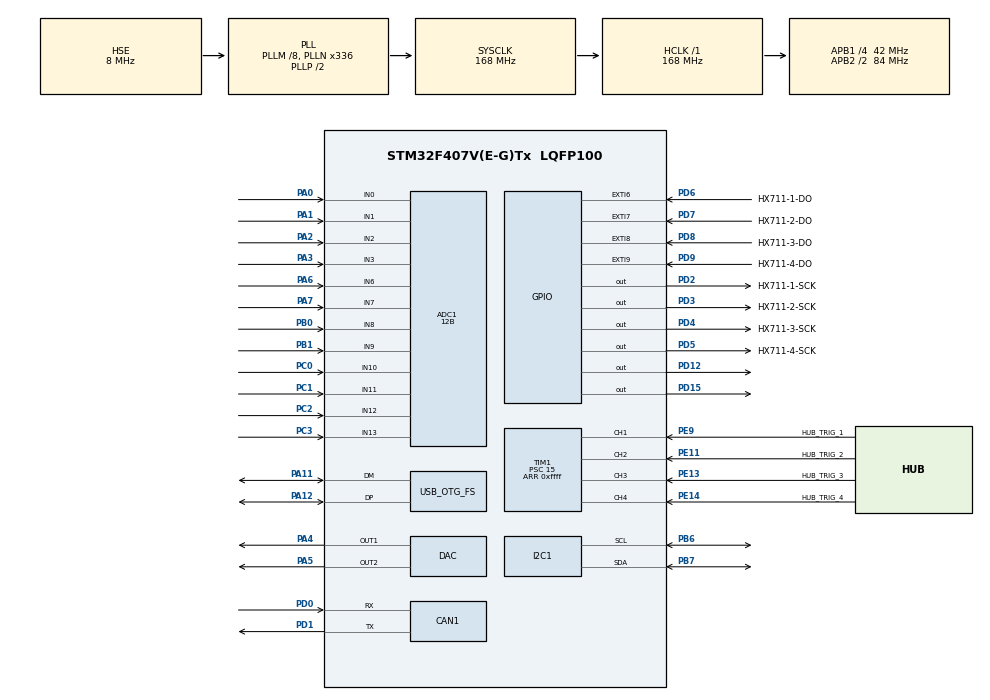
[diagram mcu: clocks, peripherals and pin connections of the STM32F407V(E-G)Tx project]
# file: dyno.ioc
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ADC1.Channel-0\#ChannelRegularConversion=ADC_CHANNEL_0
ADC1.Channel-1\#ChannelRegularConversion=ADC_CHANNEL_1
ADC1.Channel-10\#ChannelRegularConversion=ADC_CHANNEL_12
ADC1.Channel-11\#ChannelRegularConversion=ADC_CHANNEL_13
ADC1.Channel-2\#ChannelRegularConversion=ADC_CHANNEL_2
ADC1.Channel-3\#ChannelRegularConversion=ADC_CHANNEL_3
ADC1.Channel-4\#ChannelRegularConversion=ADC_CHANNEL_6
ADC1.Channel-5\#ChannelRegularConversion=ADC_CHANNEL_7
ADC1.Channel-6\#ChannelRegularConversion=ADC_CHANNEL_8
ADC1.Channel-7\#ChannelRegularConversion=ADC_CHANNEL_9
ADC1.Channel-8\#ChannelRegularConversion=ADC_CHANNEL_10
ADC1.Channel-9\#ChannelRegularConversion=ADC_CHANNEL_11
ADC1.ClockPrescaler=ADC_CLOCK_SYNC_PCLK_DIV8
ADC1.ContinuousConvMode=ENABLE
ADC1.DMAContinuousRequests=ENABLE
ADC1.EOCSelection=ADC_EOC_SEQ_CONV
ADC1.InjNumberOfConversion=0
ADC1.NbrOfConversion=12
ADC1.NbrOfConversionFlag=1
ADC1.Rank-0\#ChannelRegularConversion=1
ADC1.Rank-1\#ChannelRegularConversion=2
ADC1.Rank-10\#ChannelRegularConversion=11
ADC1.Rank-11\#ChannelRegularConversion=12
ADC1.Rank-2\#ChannelRegularConversion=3
ADC1.Rank-3\#ChannelRegularConversion=4
ADC1.Rank-4\#ChannelRegularConversion=5
ADC1.Rank-5\#ChannelRegularConversion=6
ADC1.Rank-6\#ChannelRegularConversion=7
ADC1.Rank-7\#ChannelRegularConversion=8
ADC1.Rank-8\#ChannelRegularConversion=9
ADC1.Rank-9\#ChannelRegularConversion=10
ADC1.Resolution=ADC_RESOLUTION_12B
ADC1.SamplingTime-0\#ChannelRegularConversion=ADC_SAMPLETIME_84CYCLES
ADC1.SamplingTime-1\#ChannelRegularConversion=ADC_SAMPLETIME_84CYCLES
ADC1.SamplingTime-10\#ChannelRegularConversion=ADC_SAMPLETIME_84CYCLES
ADC1.SamplingTime-11\#ChannelRegularConversion=ADC_SAMPLETIME_84CYCLES
ADC1.SamplingTime-2\#ChannelRegularConversion=ADC_SAMPLETIME_84CYCLES
ADC1.SamplingTime-3\#ChannelRegularConversion=ADC_SAMPLETIME_84CYCLES
ADC1.SamplingTime-4\#ChannelRegularConversion=ADC_SAMPLETIME_84CYCLES
ADC1.SamplingTime-5\#ChannelRegularConversion=ADC_SAMPLETIME_84CYCLES
ADC1.SamplingTime-6\#ChannelRegularConversion=ADC_SAMPLETIME_84CYCLES
ADC1.SamplingTime-7\#ChannelRegularConversion=ADC_SAMPLETIME_84CYCLES
ADC1.SamplingTime-8\#ChannelRegularConversion=ADC_SAMPLETIME_84CYCLES
ADC1.SamplingTime-9\#ChannelRegularConversion=ADC_SAMPLETIME_84CYCLES
ADC1.ScanConvMode=ENABLE
ADC1.master=1
CAN1.CalculateTimeQuantum=380.95238095238096
Dma.ADC1.0.Direction=DMA_PERIPH_TO_MEMORY
Dma.ADC1.0.FIFOMode=DMA_FIFOMODE_DISABLE
Dma.ADC1.0.Instance=DMA2_Stream0
Dma.ADC1.0.MemDataAlignment=DMA_MDATAALIGN_HALFWORD
Dma.ADC1.0.MemInc=DMA_MINC_ENABLE
Dma.ADC1.0.Mode=DMA_CIRCULAR
Dma.ADC1.0.PeriphDataAlignment=DMA_PDATAALIGN_HALFWORD
Dma.ADC1.0.PeriphInc=DMA_PINC_DISABLE
Dma.ADC1.0.Priority=DMA_PRIORITY_LOW
Dma.Request0=ADC1
FREERTOS.Tasks01=Default,24,512,StartDefaultTask,As weak,NULL,Dynamic,NULL,NULL;analog,24,512,analogTask,As external,NULL,Dynamic,NULL,NULL;communication,24,512,communicationTask,As external,NULL,Dynamic,NULL,NULL
FREERTOS.Timers01=heartBeatTimer,heartBeat,osTimerPeriodic,As external,NULL,Dynamic,NULL;envelopeTimeoutTimer,envelopeTimeout,osTimerOnce,As external,NULL,Dynamic,NULL;hubWatchDogTimer,hubWatchDog,osTimerPeriodic,As external,NULL,Dynamic,NULL
FREERTOS.configCHECK_FOR_STACK_OVERFLOW=1
FREERTOS.configGENERATE_RUN_TIME_STATS=1
FREERTOS.configLIBRARY_MAX_SYSCALL_INTERRUPT_PRIORITY=5
FREERTOS.configMINIMAL_STACK_SIZE=256
FREERTOS.configRECORD_STACK_HIGH_ADDRESS=1
FREERTOS.configTIMER_TASK_PRIORITY=24
FREERTOS.configTIMER_TASK_STACK_DEPTH=512
FREERTOS.configTOTAL_HEAP_SIZE=16384
FREERTOS.configUSE_STATS_FORMATTING_FUNCTIONS=1
I2C1.GeneralCallMode=I2C_GENERALCALL_DISABLE
I2C1.I2C_Mode=I2C_Fast
I2C1.OwnAddress=0
Mcu.Family=STM32F4
Mcu.Name=STM32F407V(E-G)Tx
Mcu.Package=LQFP100
NVIC.DMA2_Stream0_IRQn=true\:5\:0\:true\:false\:true\:false\:false\:true
NVIC.EXTI9_5_IRQn=true\:0\:0\:false\:false\:false\:false\:true\:false
NVIC.OTG_FS_IRQn=true\:5\:0\:false\:false\:true\:true\:false\:true
NVIC.PriorityGroup=NVIC_PRIORITYGROUP_4
NVIC.TIM1_CC_IRQn=true\:2\:0\:true\:false\:false\:false\:true\:false
NVIC.TIM1_UP_TIM10_IRQn=true\:2\:0\:true\:false\:false\:false\:true\:false
NVIC.TIM5_IRQn=true\:2\:0\:true\:false\:false\:false\:true\:false
NVIC.TIM6_DAC_IRQn=true\:0\:0\:false\:false\:true\:false\:false\:true
NVIC.TIM8_CC_IRQn=true\:0\:0\:false\:false\:false\:false\:true\:false
NVIC.TimeBase=TIM6_DAC_IRQn
NVIC.TimeBaseIP=TIM6
PA0-WKUP.Signal=ADCx_IN0
PA1.Signal=ADCx_IN1
PA11.Mode=Device_Only
PA11.Signal=USB_OTG_FS_DM
PA12.Mode=Device_Only
PA12.Signal=USB_OTG_FS_DP
PA13.Mode=Trace_Asynchronous_SW
PA13.Signal=SYS_JTMS-SWDIO
PA14.Mode=Trace_Asynchronous_SW
PA14.Signal=SYS_JTCK-SWCLK
PA2.Signal=ADCx_IN2
PA3.Signal=ADCx_IN3
PA4.Signal=COMP_DAC1_group
PA5.Signal=COMP_DAC2_group
PA6.Signal=ADCx_IN6
PA7.Signal=ADCx_IN7
PB0.Signal=ADCx_IN8
PB1.Signal=ADCx_IN9
PB3.Mode=Trace_Asynchronous_SW
PB3.Signal=SYS_JTDO-SWO
PB6.Mode=I2C
PB6.Signal=I2C1_SCL
PB7.Mode=I2C
PB7.Signal=I2C1_SDA
PC0.Signal=ADCx_IN10
PC1.Signal=ADCx_IN11
PC14-OSC32_IN.Mode=LSE-External-Oscillator
PC14-OSC32_IN.Signal=RCC_OSC32_IN
PC15-OSC32_OUT.Mode=LSE-External-Oscillator
PC15-OSC32_OUT.Signal=RCC_OSC32_OUT
PC2.Signal=ADCx_IN12
PC3.Signal=ADCx_IN13
PD0.Mode=Master
PD0.Signal=CAN1_RX
PD1.Mode=Master
PD1.Signal=CAN1_TX
PD12.PinState=GPIO_PIN_SET
PD12.Signal=GPIO_Output
PD15.PinState=GPIO_PIN_SET
PD15.Signal=GPIO_Output
PD2.GPIO_Label=HX711-1-SCK
PD2.GPIO_ModeDefaultOutputPP=GPIO_MODE_OUTPUT_PP
PD2.GPIO_PuPd=GPIO_PULLUP
PD2.GPIO_Speed=GPIO_SPEED_FREQ_LOW
PD2.PinState=GPIO_PIN_SET
PD2.Signal=GPIO_Output
PD3.GPIO_Label=HX711-2-SCK
PD3.GPIO_PuPd=GPIO_PULLUP
PD3.PinState=GPIO_PIN_SET
PD3.Signal=GPIO_Output
PD4.GPIO_Label=HX711-3-SCK
PD4.GPIO_PuPd=GPIO_PULLUP
PD4.PinState=GPIO_PIN_SET
PD4.Signal=GPIO_Output
PD5.GPIO_Label=HX711-4-SCK
PD5.GPIO_ModeDefaultOutputPP=GPIO_MODE_OUTPUT_PP
PD5.GPIO_PuPd=GPIO_PULLUP
PD5.PinState=GPIO_PIN_SET
PD5.Signal=GPIO_Output
PD6.GPIO_Label=HX711-1-DO
PD6.GPIO_ModeDefaultEXTI=GPIO_MODE_IT_FALLING
PD6.Signal=GPXTI6
PD7.GPIO_Label=HX711-2-DO
PD7.GPIO_ModeDefaultEXTI=GPIO_MODE_IT_FALLING
PD7.Signal=GPXTI7
PD8.GPIO_Label=HX711-3-DO
PD8.GPIO_ModeDefaultEXTI=GPIO_MODE_IT_FALLING
PD8.Signal=GPXTI8
PD9.GPIO_Label=HX711-4-DO
PD9.GPIO_ModeDefaultEXTI=GPIO_MODE_IT_FALLING
PD9.Signal=GPXTI9
PE11.GPIO_Label=HUB_TRIG_2
PE11.Signal=S_TIM1_CH2
PE13.GPIO_Label=HUB_TRIG_3
PE13.Signal=S_TIM1_CH3
PE14.GPIO_Label=HUB_TRIG_4
PE14.Signal=S_TIM1_CH4
PE9.GPIO_Label=HUB_TRIG_1
PE9.Signal=S_TIM1_CH1
PH0-OSC_IN.Mode=HSE-External-Oscillator
PH0-OSC_IN.Signal=RCC_OSC_IN
PH1-OSC_OUT.Mode=HSE-External-Oscillator
PH1-OSC_OUT.Signal=RCC_OSC_OUT
ProjectManager.HeapSize=0x300
ProjectManager.StackSize=0x400
ProjectManager.TargetToolchain=TrueSTUDIO
RCC.48MHZClocksFreq_Value=48000000
RCC.AHBFreq_Value=168000000
RCC.APB1CLKDivider=RCC_HCLK_DIV4
RCC.APB1Freq_Value=42000000
RCC.APB1TimFreq_Value=84000000
RCC.APB2CLKDivider=RCC_HCLK_DIV2
RCC.APB2Freq_Value=84000000
RCC.APB2TimFreq_Value=168000000
RCC.CortexFreq_Value=168000000
RCC.HCLKFreq_Value=168000000
RCC.HSE_VALUE=8000000
RCC.HSI_VALUE=16000000
RCC.PLLM=8
RCC.PLLN=336
RCC.PLLQ=7
RCC.SYSCLKFreq_VALUE=168000000
RCC.SYSCLKSource=RCC_SYSCLKSOURCE_PLLCLK
RCC.VCOOutputFreq_Value=336000000
SH.ADCx_IN0.0=ADC1_IN0,IN0
SH.ADCx_IN1.0=ADC1_IN1,IN1
SH.ADCx_IN10.0=ADC1_IN10,IN10
SH.ADCx_IN11.0=ADC1_IN11,IN11
SH.ADCx_IN12.0=ADC1_IN12,IN12
SH.ADCx_IN13.0=ADC1_IN13,IN13
SH.ADCx_IN2.0=ADC1_IN2,IN2
SH.ADCx_IN3.0=ADC1_IN3,IN3
SH.ADCx_IN6.0=ADC1_IN6,IN6
SH.ADCx_IN7.0=ADC1_IN7,IN7
SH.ADCx_IN8.0=ADC1_IN8,IN8
SH.ADCx_IN9.0=ADC1_IN9,IN9
SH.COMP_DAC1_group.0=DAC_OUT1,DAC_OUT1
SH.COMP_DAC2_group.0=DAC_OUT2,DAC_OUT2
SH.S_TIM1_CH1.0=TIM1_CH1,Input_Capture1_from_TI1
SH.S_TIM1_CH2.0=TIM1_CH2,Input_Capture2_from_TI2
SH.S_TIM1_CH3.0=TIM1_CH3,Input_Capture3_from_TI3
SH.S_TIM1_CH4.0=TIM1_CH4,Input_Capture4_from_TI4
TIM1.AutoReloadPreload=TIM_AUTORELOAD_PRELOAD_DISABLE
TIM1.Channel-Input_Capture1_from_TI1=TIM_CHANNEL_1
TIM1.Channel-Input_Capture2_from_TI2=TIM_CHANNEL_2
TIM1.Channel-Input_Capture3_from_TI3=TIM_CHANNEL_3
TIM1.Channel-Input_Capture4_from_TI4=TIM_CHANNEL_4
TIM1.Period=0xffff
TIM1.Prescaler=15
TIM1.TIM_MasterOutputTrigger=TIM_TRGO_RESET
TIM2.Period=0xffffffff
TIM2.Prescaler=167
TIM5.Channel-Output\ Compare1\ No\ Output=TIM_CHANNEL_1
TIM5.Channel-Output\ Compare2\ No\ Output=TIM_CHANNEL_2
TIM5.Channel-Output\ Compare3\ No\ Output=TIM_CHANNEL_3
TIM5.Channel-Output\ Compare4\ No\ Output=TIM_CHANNEL_4
TIM5.Period=0xffffffff
TIM5.Prescaler=7
TIM8.Channel-Output\ Compare1\ No\ Output=TIM_CHANNEL_1
TIM8.Channel-Output\ Compare2\ No\ Output=TIM_CHANNEL_2
TIM8.Channel-Output\ Compare3\ No\ Output=TIM_CHANNEL_3
TIM8.Channel-Output\ Compare4\ No\ Output=TIM_CHANNEL_4
TIM8.Period=0xffff
TIM8.Prescaler=167
USB_DEVICE.APP_RX_DATA_SIZE-CDC_FS=64
USB_DEVICE.APP_TX_DATA_SIZE-CDC_FS=64
USB_DEVICE.CLASS_NAME_FS=CDC
USB_DEVICE.VirtualMode-CDC_FS=Cdc
USB_DEVICE.VirtualModeFS=Cdc_FS
USB_OTG_FS.VirtualMode=Device_Only
VP_FREERTOS_VS_CMSIS_V2.Mode=CMSIS_V2
VP_SYS_VS_tim6.Mode=TIM6
VP_TIM1_VS_ClockSourceINT.Mode=Internal
VP_TIM2_VS_ClockSourceINT.Mode=Internal
VP_TIM5_VS_ClockSourceINT.Mode=Internal
VP_TIM5_VS_no_output1.Mode=Output Compare1 No Output
VP_TIM5_VS_no_output2.Mode=Output Compare2 No Output
VP_TIM5_VS_no_output3.Mode=Output Compare3 No Output
VP_TIM5_VS_no_output4.Mode=Output Compare4 No Output
VP_TIM8_VS_ClockSourceINT.Mode=Internal
VP_TIM8_VS_no_output1.Mode=Output Compare1 No Output
VP_TIM8_VS_no_output2.Mode=Output Compare2 No Output
VP_TIM8_VS_no_output3.Mode=Output Compare3 No Output
VP_TIM8_VS_no_output4.Mode=Output Compare4 No Output
VP_USB_DEVICE_VS_USB_DEVICE_CDC_FS.Mode=CDC_FS
board=custom

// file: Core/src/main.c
/* USER CODE BEGIN Header */
/**
  ******************************************************************************
  * @file           : main.c
  * @brief          : Main program body
  ******************************************************************************
  * @attention
  *
  * <h2><center>&copy; Copyright (c) 2020 STMicroelectronics.
  * All rights reserved.</center></h2>
  *
  * This software component is licensed by ST under Ultimate Liberty license
  * SLA0044, the "License"; You may not use this file except in compliance with
  * the License. You may obtain a copy of the License at:
  *                             www.st.com/SLA0044
  *
  ******************************************************************************
  */
/* USER CODE END Header */

#include "main.h"
#include "cmsis_os.h"
#include "adc.h"
#include "can.h"
#include "dac.h"
#include "dma.h"
#include "i2c.h"
#include "tim.h"
#include "usb_device.h"
#include "gpio.h"

/* USER CODE BEGIN Includes */
#include "communication.h"
#include "status.h"
#include "config.h"
#include "stepper.h"
#include "hx711.h"

/*
 * TIMER1 - HUB TRIGGER INPUTS 10.5Mhz
 * TIMER6 - SYSTEM BASE TIMER
 * TIMER5 - STEPPER MOTORS
 * TIMER8 - HX711 BIT READING DELAY TIMER
 */

/* USER CODE END Includes */

/* USER CODE BEGIN PV */
status_t status;

/* USER CODE END PV */

void SystemClock_Config(void);
void MX_FREERTOS_Init(void);

/* USER CODE BEGIN 0 */
stepper_t stp;

/* USER CODE END 0 */

int main(void)
{
  /* USER CODE BEGIN 1 */
uint8_t *s,*d;
uint16_t i;
//uint16_t tim16 = 0x0010;
//uint32_t tim32 = 0x0001FFFF;
//uint16_t result;

	hx[0].gain = 1; // 128 port A
	hx[0].offset = 0;

	hx[0].gpioSck = GPIOD;
	hx[0].pinSck = HX711_1_SCK_Pin;

	hx[0].gpioData = GPIOD;
	hx[0].pinData = HX711_1_DO_Pin;

//	result = (tim32 & 0x0000ffff) - tim16;
//	tim32 += result;

	HAL_DBGMCU_EnableDBGStandbyMode();
	HAL_DBGMCU_EnableDBGStopMode();
	DBGMCU->APB2FZ |= DBGMCU_APB2_FZ_DBG_TIM1_STOP;
	DBGMCU->APB1FZ |= DBGMCU_APB1_FZ_DBG_TIM2_STOP;
	DBGMCU->APB1FZ |= DBGMCU_APB1_FZ_DBG_TIM5_STOP;

	s = (uint8_t *) &DefaultConfig;
	d = (uint8_t *) &config;

	for (i = sizeof(config_t); i > 0; i--)
		*d++ = *s++;
  /* USER CODE END 1 */

  /* MCU Configuration--------------------------------------------------------*/

  /* Reset of all peripherals, Initializes the Flash interface and the Systick. */
  HAL_Init();

  /* Configure the system clock */
  SystemClock_Config();

  /* Initialize all configured peripherals */
  MX_GPIO_Init();
  MX_DMA_Init();
  MX_DAC_Init();
  MX_TIM5_Init();
  MX_ADC1_Init();
  MX_TIM1_Init();
  MX_CAN1_Init();
  MX_I2C1_Init();
  MX_TIM8_Init();
  MX_TIM2_Init();
  /* USER CODE BEGIN 2 */
  HX711_Init(hx[0]);
  /* USER CODE END 2 */
  /* Init scheduler */
  osKernelInitialize();

  /* Call init function for freertos objects (in freertos.c) */
  MX_FREERTOS_Init();

  /* Start scheduler */
  osKernelStart();

  /* We should never get here as control is now taken by the scheduler */

  /* Infinite loop */

    /* USER CODE BEGIN 3 */
	/* USER CODE END 2 */
	/* Init scheduler */
  osKernelInitialize();

  /* Call init function for freertos objects (in freertos.c) */
  MX_FREERTOS_Init();

  /* Start scheduler */
  osKernelStart();

  /* We should never get here as control is now taken by the scheduler */

  /* Infinite loop */
  /* USER CODE BEGIN WHILE */
  while (1)
  {
    /* USER CODE END WHILE */

    /* USER CODE BEGIN 3 */
  }
  /* USER CODE END 3 */
}

void SystemClock_Config(void)
{
  RCC_OscInitTypeDef RCC_OscInitStruct = {0};
  RCC_ClkInitTypeDef RCC_ClkInitStruct = {0};

  /** Configure the main internal regulator output voltage
  */
  __HAL_RCC_PWR_CLK_ENABLE();
  __HAL_PWR_VOLTAGESCALING_CONFIG(PWR_REGULATOR_VOLTAGE_SCALE1);
  /** Initializes the CPU, AHB and APB busses clocks
  */
  RCC_OscInitStruct.OscillatorType = RCC_OSCILLATORTYPE_HSE;
  RCC_OscInitStruct.HSEState = RCC_HSE_ON;
  RCC_OscInitStruct.PLL.PLLState = RCC_PLL_ON;
  RCC_OscInitStruct.PLL.PLLSource = RCC_PLLSOURCE_HSE;
  RCC_OscInitStruct.PLL.PLLM = 8;
  RCC_OscInitStruct.PLL.PLLN = 336;
  RCC_OscInitStruct.PLL.PLLP = RCC_PLLP_DIV2;
  RCC_OscInitStruct.PLL.PLLQ = 7;
  if (HAL_RCC_OscConfig(&RCC_OscInitStruct) != HAL_OK)
  {
    Error_Handler();
  }
  /** Initializes the CPU, AHB and APB busses clocks
  */
  RCC_ClkInitStruct.ClockType = RCC_CLOCKTYPE_HCLK|RCC_CLOCKTYPE_SYSCLK
                              |RCC_CLOCKTYPE_PCLK1|RCC_CLOCKTYPE_PCLK2;
  RCC_ClkInitStruct.SYSCLKSource = RCC_SYSCLKSOURCE_PLLCLK;
  RCC_ClkInitStruct.AHBCLKDivider = RCC_SYSCLK_DIV1;
  RCC_ClkInitStruct.APB1CLKDivider = RCC_HCLK_DIV4;
  RCC_ClkInitStruct.APB2CLKDivider = RCC_HCLK_DIV2;

  if (HAL_RCC_ClockConfig(&RCC_ClkInitStruct, FLASH_LATENCY_5) != HAL_OK)
  {
    Error_Handler();
  }
}

void HAL_TIM_PeriodElapsedCallback(TIM_HandleTypeDef *htim)
{
  if (htim->Instance == TIM6) {
    HAL_IncTick();
  }
}

void Error_Handler(void)
{
}

/************************ (C) COPYRIGHT STMicroelectronics *****END OF FILE****/

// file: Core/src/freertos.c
/* USER CODE BEGIN Header */
/**
  ******************************************************************************
  * File Name          : freertos.c
  * Description        : Code for freertos applications
  ******************************************************************************
  * @attention
  *
  * <h2><center>&copy; Copyright (c) 2020 STMicroelectronics.
  * All rights reserved.</center></h2>
  *
  * This software component is licensed by ST under Ultimate Liberty license
  * SLA0044, the "License"; You may not use this file except in compliance with
  * the License. You may obtain a copy of the License at:
  *                             www.st.com/SLA0044
  *
  ******************************************************************************
  */
/* USER CODE END Header */

#include "FreeRTOS.h"
#include "task.h"
#include "main.h"
#include "cmsis_os.h"

/* USER CODE BEGIN Includes */
#include "hub.h"
#include "heartbeat.h"
#include "analog.h"
#include "adc.h"
#include "stepper.h"
#include "bmp280.h"
#include "i2c.h"
/* USER CODE END Includes */

/* Definitions for Default */
osThreadId_t DefaultHandle;
const osThreadAttr_t Default_attributes = {
  .name = "Default",
  .priority = (osPriority_t) osPriorityNormal,
  .stack_size = 512
};
/* Definitions for analog */
osThreadId_t analogHandle;
const osThreadAttr_t analog_attributes = {
  .name = "analog",
  .priority = (osPriority_t) osPriorityNormal,
  .stack_size = 512
};
/* Definitions for communication */
osThreadId_t communicationHandle;
const osThreadAttr_t communication_attributes = {
  .name = "communication",
  .priority = (osPriority_t) osPriorityNormal,
  .stack_size = 512
};
/* Definitions for heartBeatTimer */
osTimerId_t heartBeatTimerHandle;
const osTimerAttr_t heartBeatTimer_attributes = {
  .name = "heartBeatTimer"
};
/* Definitions for envelopeTimeoutTimer */
osTimerId_t envelopeTimeoutTimerHandle;
const osTimerAttr_t envelopeTimeoutTimer_attributes = {
  .name = "envelopeTimeoutTimer"
};
/* Definitions for hubWatchDogTimer */
osTimerId_t hubWatchDogTimerHandle;
const osTimerAttr_t hubWatchDogTimer_attributes = {
  .name = "hubWatchDogTimer"
};

void StartDefaultTask(void *argument);
extern void analogTask(void *argument);
extern void communicationTask(void *argument);
extern void heartBeat(void *argument);
extern void envelopeTimeout(void *argument);
extern void hubWatchDog(void *argument);

extern void MX_USB_DEVICE_Init(void);
void MX_FREERTOS_Init(void); /* (MISRA C 2004 rule 8.1) */

/* Hook prototypes */
void configureTimerForRunTimeStats(void);
unsigned long getRunTimeCounterValue(void);
void vApplicationStackOverflowHook(xTaskHandle xTask, signed char *pcTaskName);

/* USER CODE BEGIN 1 */
/* Functions needed when configGENERATE_RUN_TIME_STATS is on */
__weak void configureTimerForRunTimeStats(void)
{

}

__weak unsigned long getRunTimeCounterValue(void)
{
return 0;
}
/* USER CODE END 1 */

/* USER CODE BEGIN 4 */
__weak void vApplicationStackOverflowHook(xTaskHandle xTask, signed char *pcTaskName)
{
   /* Run time stack overflow checking is performed if
   configCHECK_FOR_STACK_OVERFLOW is defined to 1 or 2. This hook function is
   called if a stack overflow is detected. */
}
/* USER CODE END 4 */

void MX_FREERTOS_Init(void) {

  /* Create the timer(s) */
  /* creation of heartBeatTimer */
  heartBeatTimerHandle = osTimerNew(heartBeat, osTimerPeriodic, NULL, &heartBeatTimer_attributes);

  /* creation of envelopeTimeoutTimer */
  envelopeTimeoutTimerHandle = osTimerNew(envelopeTimeout, osTimerOnce, NULL, &envelopeTimeoutTimer_attributes);

  /* creation of hubWatchDogTimer */
  hubWatchDogTimerHandle = osTimerNew(hubWatchDog, osTimerPeriodic, NULL, &hubWatchDogTimer_attributes);

  /* Create the thread(s) */
  /* creation of Default */
  DefaultHandle = osThreadNew(StartDefaultTask, NULL, &Default_attributes);

  /* creation of analog */
  analogHandle = osThreadNew(analogTask, NULL, &analog_attributes);

  /* creation of communication */
  communicationHandle = osThreadNew(communicationTask, NULL, &communication_attributes);

}

__weak void StartDefaultTask(void *argument)
{
  /* init code for USB_DEVICE */
  MX_USB_DEVICE_Init();
  /* USER CODE BEGIN StartDefaultTask */

	bmp280_init_default_params(&bmp280.params);
	bmp280.addr = BMP280_I2C_ADDRESS_0;
	bmp280.i2c = &hi2c1;

	if(!bmp280_init(&bmp280, &bmp280.params))
	{
		__asm__("bkpt");
	}

	HAL_ADC_Start_DMA(&hadc1, (uint32_t *) ADCBuffer, 12);
	osTimerStart(heartBeatTimerHandle, 1000U);
	osTimerStart(hubWatchDogTimerHandle, HUB_WATCH_DOG_INTERVAL_MS);

	TIM1->SR &= ~0;
	TIM1->CCER |= (TIM_CCER_CC1E | TIM_CCER_CC2E | TIM_CCER_CC3E | TIM_CCER_CC4E);
	TIM1->DIER |= (TIM_DIER_CC1IE | TIM_DIER_CC2IE | TIM_DIER_CC3IE | TIM_DIER_CC4IE | TIM_DIER_UIE);
	TIM1->CR1 |= TIM_CR1_CEN;

	TIM2->CR1 |= TIM_CR1_CEN;
	TIM5->CR1 |= TIM_CR1_CEN;
	TIM8->CR1 |= TIM_CR1_CEN;

	stepperRel(0, 100, 10000 * ALPHA * 100, 10000 * ALPHA * 100, 1000 * ALPHA * 100);

  for(;;)
  {
    osDelay(1);
  }
  /* USER CODE END StartDefaultTask */
}

/************************ (C) COPYRIGHT STMicroelectronics *****END OF FILE****/
